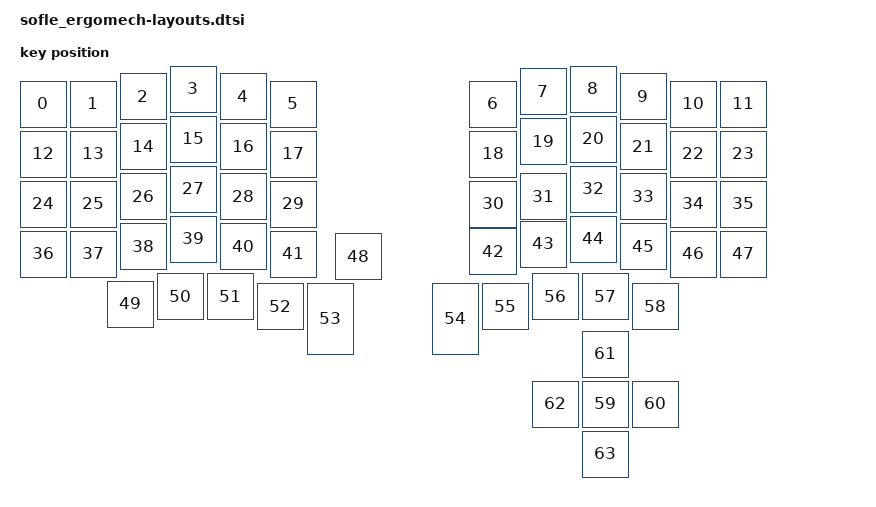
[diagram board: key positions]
#include <physical_layouts.dtsi>

/ {
    layout_0: layout_0 {
        compatible = "zmk,physical-layout";
        display-name = "LAYOUT";
        transform = <&default_transform>;
        keys  //                     w   h    x    y     rot    rx    ry
            = <&key_physical_attrs 100 100    0   30       0     0     0>
            , <&key_physical_attrs 100 100  100   30       0     0     0>
            , <&key_physical_attrs 100 100  200   15       0     0     0>
            , <&key_physical_attrs 100 100  300    0       0     0     0>
            , <&key_physical_attrs 100 100  400   15       0     0     0>
            , <&key_physical_attrs 100 100  500   30       0     0     0>
            , <&key_physical_attrs 100 100  900   30       0     0     0>
            , <&key_physical_attrs 100 100 1000    5       0     0     0>
            , <&key_physical_attrs 100 100 1100    0       0     0     0>
            , <&key_physical_attrs 100 100 1200   15       0     0     0>
            , <&key_physical_attrs 100 100 1300   30       0     0     0>
            , <&key_physical_attrs 100 100 1400   30       0     0     0>
            , <&key_physical_attrs 100 100    0  130       0     0     0>
            , <&key_physical_attrs 100 100  100  130       0     0     0>
            , <&key_physical_attrs 100 100  200  115       0     0     0>
            , <&key_physical_attrs 100 100  300  100       0     0     0>
            , <&key_physical_attrs 100 100  400  115       0     0     0>
            , <&key_physical_attrs 100 100  500  130       0     0     0>
            , <&key_physical_attrs 100 100  900  130       0     0     0>
            , <&key_physical_attrs 100 100 1000  105       0     0     0>
            , <&key_physical_attrs 100 100 1100  100       0     0     0>
            , <&key_physical_attrs 100 100 1200  115       0     0     0>
            , <&key_physical_attrs 100 100 1300  130       0     0     0>
            , <&key_physical_attrs 100 100 1400  130       0     0     0>
            , <&key_physical_attrs 100 100    0  230       0     0     0>
            , <&key_physical_attrs 100 100  100  230       0     0     0>
            , <&key_physical_attrs 100 100  200  215       0     0     0>
            , <&key_physical_attrs 100 100  300  200       0     0     0>
            , <&key_physical_attrs 100 100  400  215       0     0     0>
            , <&key_physical_attrs 100 100  500  230       0     0     0>
            , <&key_physical_attrs 100 100  900  230       0     0     0>
            , <&key_physical_attrs 100 100 1000  215       0     0     0>
            , <&key_physical_attrs 100 100 1100  200       0     0     0>
            , <&key_physical_attrs 100 100 1200  215       0     0     0>
            , <&key_physical_attrs 100 100 1300  230       0     0     0>
            , <&key_physical_attrs 100 100 1400  230       0     0     0>
            , <&key_physical_attrs 100 100    0  330       0     0     0>
            , <&key_physical_attrs 100 100  100  330       0     0     0>
            , <&key_physical_attrs 100 100  200  315       0     0     0>
            , <&key_physical_attrs 100 100  300  300       0     0     0>
            , <&key_physical_attrs 100 100  400  315       0     0     0>
            , <&key_physical_attrs 100 100  500  330       0     0     0>
            , <&key_physical_attrs 100 100  900  325       0     0     0>
            , <&key_physical_attrs 100 100 1000  310       0     0     0>
            , <&key_physical_attrs 100 100 1100  300       0     0     0>
            , <&key_physical_attrs 100 100 1200  315       0     0     0>
            , <&key_physical_attrs 100 100 1300  330       0     0     0>
            , <&key_physical_attrs 100 100 1400  330       0     0     0>
            , <&key_physical_attrs 100 100  630  335       0     0     0>
            , <&key_physical_attrs 100 100  175  430       0     0     0>
            , <&key_physical_attrs 100 100  275  415       0     0     0>
            , <&key_physical_attrs 100 100  375  415       0     0     0>
            , <&key_physical_attrs 100 100  475  435       0     0     0>
            , <&key_physical_attrs 100 150  575  435       0     0     0>
            , <&key_physical_attrs 100 150  825  435       0     0     0>
            , <&key_physical_attrs 100 100  925  435       0     0     0>
            , <&key_physical_attrs 100 100 1025  415       0     0     0>
            , <&key_physical_attrs 100 100 1125  415       0     0     0>
            , <&key_physical_attrs 100 100 1225  435       0     0     0>
            , <&key_physical_attrs 100 100 1125  630       0     0     0>
            , <&key_physical_attrs 100 100 1225  630       0     0     0>
            , <&key_physical_attrs 100 100 1125  530       0     0     0>
            , <&key_physical_attrs 100 100 1025  630       0     0     0>
            , <&key_physical_attrs 100 100 1125  730       0     0     0>
            ;
    };

    position_map {
        compatible = "zmk,physical-layout-position-map";

        layout_0 {
            physical-layout = <&layout_0>;
            positions = <0 1 2 3 4 5 6 7 8 9 10 11
                         12 13 14 15 16 17 18 19 20 21 22 23
                         24 25 26 27 28 29 30 31 32 33 34 35
                         36 37 38 39 40 41 42 43 44 45 46 47
                         48 49 50 51 52 53 54 55 56 57 58
                         59 60 61 62 63>;
        };
    };
};
